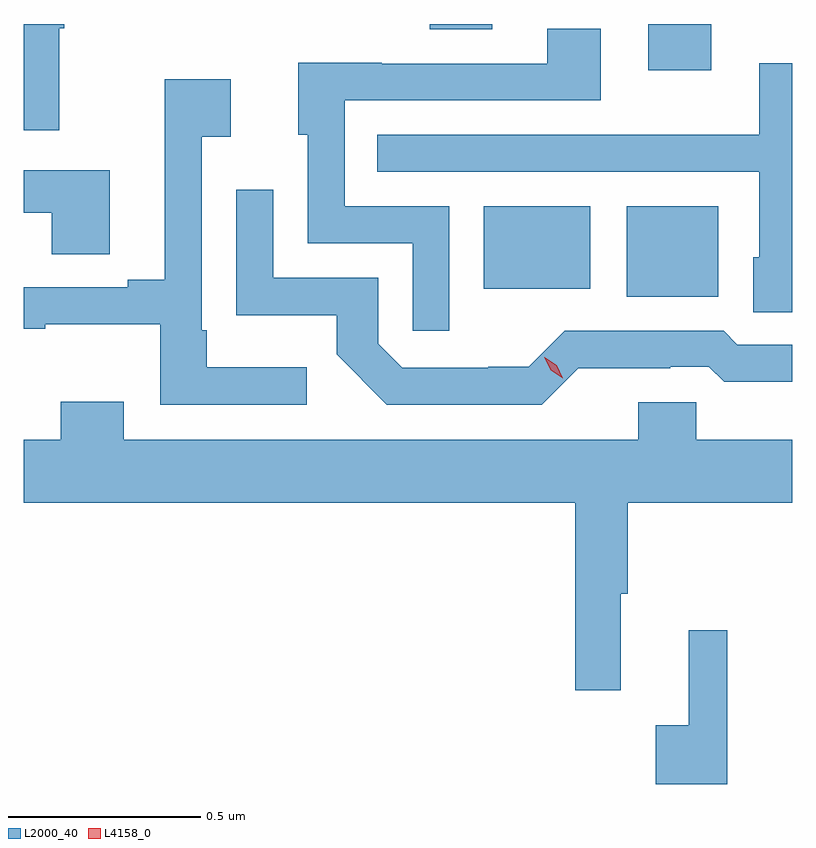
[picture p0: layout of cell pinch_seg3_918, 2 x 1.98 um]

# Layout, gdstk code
import gdstk
lib = gdstk.Library(unit=1e-6, precision=1e-09)
def R(c, l, rs):  # rectangles x0, y0, x1, y1
    for r in rs: c.add(gdstk.rectangle(r[:2], r[2:], *l))
def P(c, l, *ps):  # polygons
    for p in ps: c.add(gdstk.Polygon(p, *l))
L2000_40 = (2000, 40)
L4158_0 = (4158, 0)

pinch_seg3_918 = lib.new_cell('pinch_seg3_918')
R(pinch_seg3_918, L2000_40, [(806.648,698.789,806.887,699.025), (806.276,698.81,806.554,699.025), (806.705,699.378,806.869,699.499), (806.135,699.485,806.299,699.499)])
P(pinch_seg3_918, L2000_40, [(805.171,699.488),(805.184,699.488),(805.184,699.499),(805.079,699.499),(805.079,699.222),(805.171,699.222)],
  [(806.187,699.024),(805.914,699.024),(805.914,699.3),(806.581,699.3),(806.581,699.487),(806.441,699.487),(806.441,699.396),(806.011,699.396),(806.011,699.398),(805.793,699.398),(805.793,699.21),(805.818,699.21),(805.818,698.928),(806.091,698.928),(806.091,698.7),(806.187,698.7)],
  [(807.079,699.397),(806.994,699.397),(806.994,699.211),(806.677,699.211),(806.677,699.21),(805.999,699.21),(805.999,699.114),(806.994,699.114),(806.994,698.892),(806.978,698.892),(806.978,698.749),(807.079,698.749)],
  [(805.816,698.605),(805.555,698.605),(805.555,698.701),(805.542,698.701),(805.542,699.206),(805.618,699.206),(805.618,699.355),(805.445,699.355),(805.445,698.833),(805.349,698.833),(805.349,698.814),(805.079,698.814),(805.079,698.706),(805.135,698.706),(805.135,698.717),(805.434,698.717),(805.434,698.508),(805.816,698.508)],
  [(805.303,699.118),(805.079,699.118),(805.079,699.008),(805.151,699.008),(805.151,698.899),(805.303,698.899)],
  [(806.522,698.603),(806.762,698.603),(806.762,698.607),(806.862,698.607),(806.902,698.568),(807.079,698.568),(807.079,698.664),(806.937,698.664),(806.901,698.7),(806.487,698.7),(806.393,698.606),(806.288,698.606),(806.288,698.604),(806.064,698.604),(806.001,698.667),(806.001,698.838),(805.728,698.838),(805.728,699.067),(805.632,699.067),(805.632,698.741),(805.894,698.741),(805.894,698.639),(806.024,698.508),(806.427,698.508)],
  [(806.633,698.016),(806.651,698.016),(806.651,698.252),(807.079,698.252),(807.079,698.416),(806.829,698.416),(806.829,698.514),(806.678,698.514),(806.678,698.416),(805.339,698.416),(805.339,698.515),(805.175,698.515),(805.175,698.416),(805.079,698.416),(805.079,698.252),(806.515,698.252),(806.515,697.764),(806.633,697.764)],
  [(806.91,697.921),(806.81,697.921),(806.81,697.673),(806.724,697.673),(806.724,697.52),(806.91,697.52)])
P(pinch_seg3_918, L4158_0, [(806.482,698.576),(806.451,698.597),(806.434,698.631),(806.434,698.631),(806.435,698.631),(806.466,698.61),(806.482,698.577),(806.482,698.576)])

lib.write_gds('pinch_seg3_918.gds')
